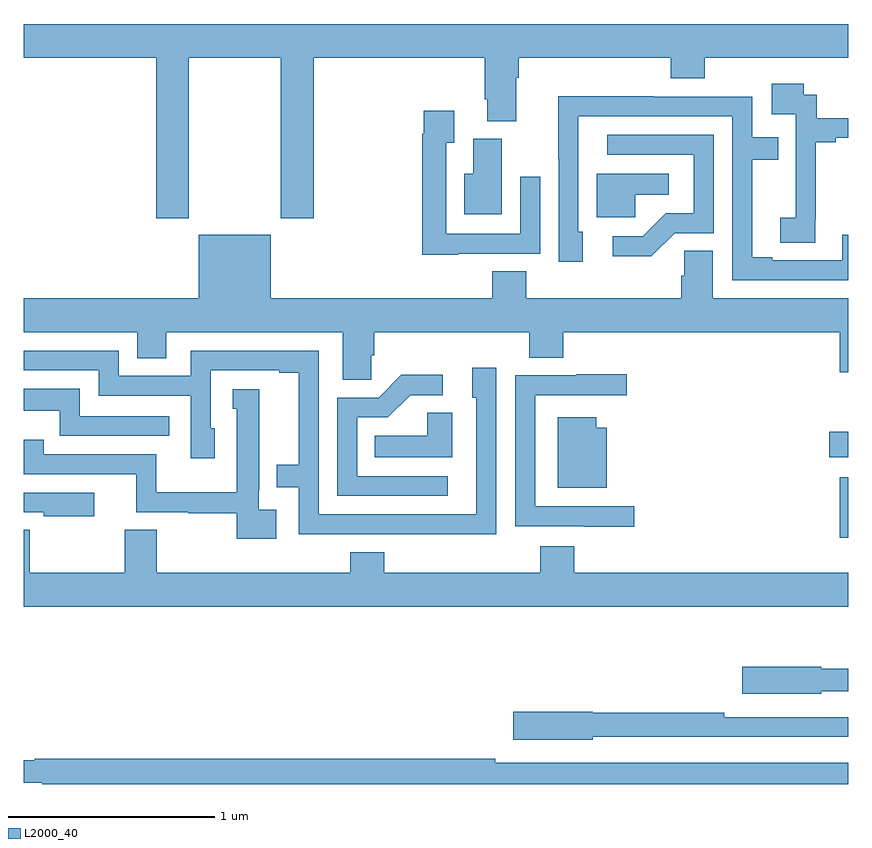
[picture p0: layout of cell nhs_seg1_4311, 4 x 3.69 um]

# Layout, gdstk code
import gdstk
lib = gdstk.Library(unit=1e-6, precision=1e-09)
def R(c, l, rs):  # rectangles x0, y0, x1, y1
    for r in rs: c.add(gdstk.rectangle(r[:2], r[2:], *l))
def P(c, l, *ps):  # polygons
    for p in ps: c.add(gdstk.Polygon(p, *l))
L2000_40 = (2000, 40)

nhs_seg1_4311 = lib.new_cell('nhs_seg1_4311')
R(nhs_seg1_4311, L2000_40, [(348.959,557.394,349,557.689), (348.909,557.786,349,557.908)])
P(nhs_seg1_4311, L2000_40, [(345.801,559.724),(346.246,559.724),(346.246,558.945),(346.406,558.945),(346.406,559.724),(347.237,559.724),(347.237,559.522),(347.249,559.522),(347.249,559.417),(347.389,559.417),(347.389,559.628),(347.402,559.628),(347.402,559.724),(348.14,559.724),(348.14,559.625),(348.305,559.625),(348.305,559.724),(349,559.724),(349,559.888),(345,559.888),(345,559.724),(345.641,559.724),(345.641,558.945),(345.801,558.945)],
  [(348.842,558.937),(348.844,558.937),(348.844,559.315),(348.94,559.315),(348.94,559.335),(349,559.335),(349,559.431),(348.848,559.431),(348.848,559.545),(348.786,559.545),(348.786,559.597),(348.63,559.597),(348.63,559.449),(348.747,559.449),(348.747,559.145),(348.746,559.145),(348.746,558.948),(348.672,558.948),(348.672,558.826),(348.842,558.826)],
  [(349,558.864),(348.972,558.864),(348.972,558.741),(348.631,558.741),(348.631,558.756),(348.535,558.756),(348.535,559.23),(348.662,559.23),(348.662,559.338),(348.534,559.338),(348.534,559.536),(348.056,559.536),(348.056,559.538),(347.594,559.538),(347.594,559.234),(347.595,559.234),(347.595,558.735),(347.713,558.735),(347.713,558.879),(347.691,558.879),(347.691,559.44),(348.438,559.44),(348.438,558.645),(349,558.645)],
  [(347.109,558.774),(347.505,558.774),(347.505,559.147),(347.409,559.147),(347.409,558.87),(347.049,558.87),(347.049,559.312),(347.089,559.312),(347.089,559.468),(346.941,559.468),(346.941,559.355),(346.933,559.355),(346.933,558.767),(347.109,558.767)],
  [(348.159,558.873),(348.348,558.873),(348.348,559.35),(347.832,559.35),(347.832,559.254),(348.252,559.254),(348.252,558.969),(348.114,558.969),(348.003,558.858),(347.859,558.858),(347.859,558.761),(348.046,558.761)],
  [(347.32,559.332),(347.18,559.332),(347.18,559.162),(347.138,559.162),(347.138,558.965),(347.32,558.965)],
  [(347.967,559.058),(348.13,559.058),(348.13,559.162),(347.78,559.162),(347.78,558.951),(347.967,558.951)],
  [(346.685,558.28),(346.7,558.28),(346.7,558.392),(347.453,558.392),(347.453,558.268),(347.618,558.268),(347.618,558.392),(348.959,558.392),(348.959,558.198),(349,558.198),(349,558.556),(348.343,558.556),(348.343,558.788),(348.204,558.788),(348.204,558.665),(348.191,558.665),(348.191,558.556),(347.438,558.556),(347.438,558.689),(347.273,558.689),(347.273,558.556),(346.198,558.556),(346.198,558.865),(345.848,558.865),(345.848,558.556),(345,558.556),(345,558.392),(345.551,558.392),(345.551,558.265),(345.691,558.265),(345.691,558.392),(346.547,558.392),(346.547,558.16),(346.685,558.16)],
  [(347.292,558.22),(347.177,558.22),(347.177,558.075),(347.196,558.075),(347.196,557.508),(346.431,557.508),(346.431,558.303),(345.81,558.303),(345.81,558.18),(345.459,558.18),(345.459,558.303),(345,558.303),(345,558.207),(345.363,558.207),(345.363,558.084),(345.81,558.084),(345.81,557.781),(345.925,557.781),(345.925,557.925),(345.906,557.925),(345.906,558.207),(346.238,558.207),(346.238,558.195),(346.334,558.195),(346.334,557.749),(346.226,557.749),(346.226,557.64),(346.335,557.64),(346.335,557.412),(346.831,557.412),(346.831,557.411),(347.292,557.411)],
  [(347.962,557.547),(347.481,557.547),(347.481,558.087),(347.926,558.087),(347.926,558.187),(347.681,558.187),(347.681,558.183),(347.385,558.183),(347.385,557.451),(347.717,557.451),(347.717,557.447),(347.962,557.447)],
  [(347.056,557.694),(346.617,557.694),(346.617,557.979),(346.767,557.979),(346.875,558.087),(347.032,558.087),(347.032,558.185),(346.832,558.185),(346.722,558.075),(346.521,558.075),(346.521,557.598),(347.056,557.598)],
  [(345.706,557.985),(345.27,557.985),(345.27,558.118),(345,558.118),(345,558.011),(345.174,558.011),(345.174,557.89),(345.277,557.89),(345.277,557.889),(345.706,557.889)],
  [(346.225,557.53),(346.14,557.53),(346.14,557.626),(346.141,557.626),(346.141,558.114),(346.013,558.114),(346.013,558.021),(346.034,558.021),(346.034,557.614),(345.643,557.614),(345.643,557.799),(345.096,557.799),(345.096,557.869),(345,557.869),(345,557.703),(345.545,557.703),(345.545,557.517),(345.798,557.517),(345.798,557.512),(346.032,557.512),(346.032,557.39),(346.225,557.39)],
  [(347.08,558.002),(346.958,558.002),(346.958,557.89),(346.702,557.89),(346.702,557.786),(347.08,557.786)],
  [(347.83,557.929),(347.777,557.929),(347.777,557.98),(347.591,557.98),(347.591,557.636),(347.83,557.636)],
  [(345.34,557.613),(345,557.613),(345,557.517),(345.095,557.517),(345.095,557.498),(345.34,557.498)],
  [(349,557.224),(347.672,557.224),(347.672,557.353),(347.507,557.353),(347.507,557.224),(346.748,557.224),(346.748,557.323),(346.583,557.323),(346.583,557.224),(345.645,557.224),(345.645,557.432),(345.49,557.432),(345.49,557.224),(345.027,557.224),(345.027,557.432),(345,557.432),(345,557.06),(349,557.06)],
  [(348.87,556.65),(349,556.65),(349,556.759),(348.87,556.759),(348.87,556.767),(348.486,556.767),(348.486,556.637),(348.87,556.637)],
  [(347.76,556.428),(349,556.428),(349,556.524),(348.398,556.524),(348.398,556.544),(347.76,556.544),(347.76,556.55),(347.376,556.55),(347.376,556.415),(347.76,556.415)],
  [(349,556.302),(347.288,556.302),(347.288,556.322),(345.052,556.322),(345.052,556.315),(345,556.315),(345,556.206),(345.088,556.206),(345.088,556.199),(349,556.199)])

lib.write_gds('nhs_seg1_4311.gds')
